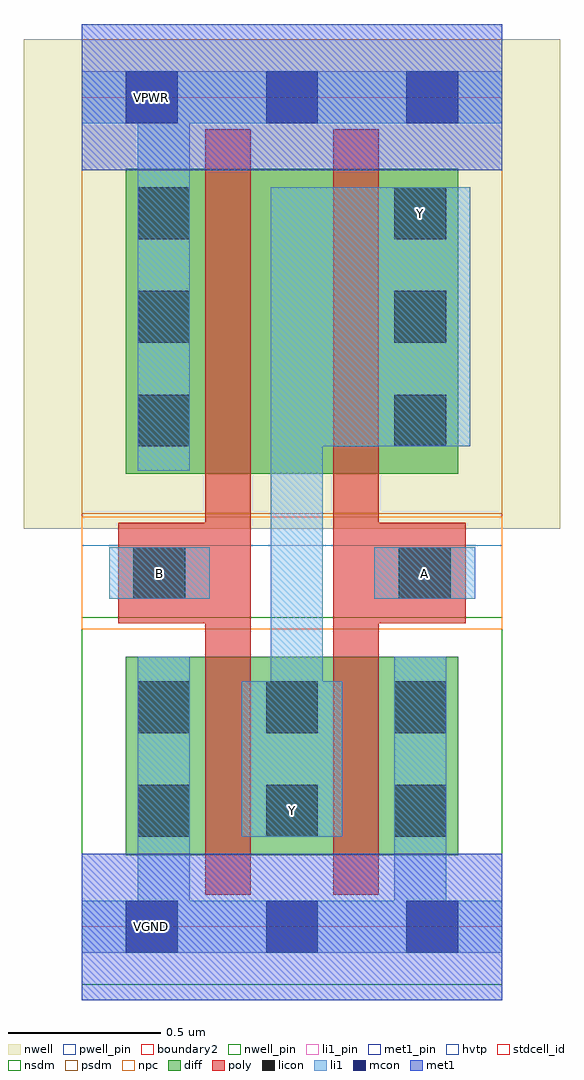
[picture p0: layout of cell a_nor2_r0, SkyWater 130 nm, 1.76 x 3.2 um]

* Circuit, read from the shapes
.subckt a_nor2_r0 A B VGND VNB VPB VPWR Y
XM1 Y B VGND VNB sky130_fd_pr__nfet_01v8 w=0.65 l=0.15
XM2 VGND A Y VNB sky130_fd_pr__nfet_01v8 w=0.65 l=0.15
XM3 n1 B VPWR VPB sky130_fd_pr__pfet_01v8_hvt w=1 l=0.15
XM4 Y A n1 VPB sky130_fd_pr__pfet_01v8_hvt w=1 l=0.15
.ends

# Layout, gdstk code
import gdstk
lib = gdstk.Library(unit=1e-6, precision=1e-09)
def R(c, l, rs):  # rectangles x0, y0, x1, y1
    for r in rs: c.add(gdstk.rectangle(r[:2], r[2:], *l))
def A(c, l, x, y, w, h, nx, ny, dx, dy):  # array of equal rectangles
    R(c, l, [(x+i*dx, y+j*dy, x+i*dx+w, y+j*dy+h) for i in range(nx) for j in range(ny)])
nwell_pin = (64, 16)
nwell = (64, 20)
diff = (65, 20)
poly = (66, 20)
licon = (66, 44)
li1_pin = (67, 16)
li1 = (67, 20)
mcon = (67, 44)
met1_pin = (68, 16)
met1 = (68, 20)
hvtp = (78, 44)
stdcell_id = (81, 4)
nsdm = (93, 44)
psdm = (94, 20)
npc = (95, 20)
pwell_pin = (122, 16)
boundary2 = (236, 0)

a_nor2_r0 = lib.new_cell('a_nor2_r0')
R(a_nor2_r0, nwell_pin, [(0.145,2.635,0.315,2.805)])
R(a_nor2_r0, nwell, [(-0.19,1.305,1.57,2.91)])
R(a_nor2_r0, diff, [(0.145,0.235,0.69,0.885), (0.69,0.235,1.235,0.885), (0.145,1.485,0.69,2.485), (0.69,1.485,1.235,2.485)])
R(a_nor2_r0, poly, [(0.405,0.105,0.555,2.615), (0.825,0.105,0.975,2.615), (0.12,0.995,0.555,1.325), (0.825,0.995,1.26,1.325)])
A(a_nor2_r0, licon, 0.185, 0.295, 0.17, 0.17, 3, 2, 0.42, 0.34)
A(a_nor2_r0, licon, 0.185, 1.575, 0.17, 0.17, 1, 3, 0, 0.34)
A(a_nor2_r0, licon, 1.025, 1.575, 0.17, 0.17, 1, 3, 0, 0.34)
R(a_nor2_r0, licon, [(0.17,1.075,0.34,1.245), (1.04,1.075,1.21,1.245)])
R(a_nor2_r0, li1_pin, [(0.605,0.295,0.775,0.465), (0.17,1.075,0.34,1.245), (1.04,1.075,1.21,1.245), (1.025,2.255,1.195,2.425)])
R(a_nor2_r0, li1, [(0,-0.085,1.38,0.085), (0.185,-0.085,0.355,0.545), (1.025,-0.085,1.195,0.545), (0.185,0.295,0.355,0.885), (0.525,0.295,0.855,0.465), (0.525,0.295,0.855,0.805), (0.62,0.295,0.79,2.425), (1.025,0.295,1.195,0.885), (0.09,1.075,0.42,1.245), (0.96,1.075,1.29,1.245), (0.185,1.495,0.355,2.085), (0.79,1.575,0.945,2.085), (0.79,1.575,0.945,2.085), (0.79,1.575,0.945,2.085), (0.79,1.575,0.945,2.085), (0.945,1.575,1.275,2.085), (0.185,1.835,0.355,2.425), (0.79,1.915,0.945,2.425), (0.79,1.915,0.945,2.425), (0.79,1.915,0.945,2.425), (0.79,1.915,0.945,2.425), (0.945,1.915,1.275,2.425), (0.185,2.085,0.355,2.175), (0.185,2.085,0.355,2.175), (0.185,2.085,0.355,2.175), (0.185,2.085,0.355,2.175), (0.185,2.175,0.355,2.805), (0.62,2.255,1.115,2.425), (0.79,2.255,0.945,2.425), (0.79,2.255,0.945,2.425), (0.79,2.255,0.945,2.425), (0.79,2.255,0.945,2.425), (0.945,2.255,1.275,2.425), (0,2.635,1.38,2.805)])
A(a_nor2_r0, mcon, 0.145, -0.085, 0.17, 0.17, 3, 2, 0.46, 2.72)
R(a_nor2_r0, met1_pin, [(0.145,-0.085,0.315,0.085), (0.145,2.635,0.315,2.805)])
R(a_nor2_r0, met1, [(0,-0.24,1.38,0.24), (0,2.48,1.38,2.96)])
R(a_nor2_r0, hvtp, [(0,1.25,1.38,2.72)])
R(a_nor2_r0, stdcell_id, [(0,0,1.38,2.72)])
R(a_nor2_r0, nsdm, [(0,-0.19,1.38,1.015)])
R(a_nor2_r0, psdm, [(0,1.355,1.38,2.91)])
R(a_nor2_r0, npc, [(0,0.975,1.38,1.345)])
R(a_nor2_r0, pwell_pin, [(0.145,-0.085,0.315,0.085)])
R(a_nor2_r0, boundary2, [(0,0,1.38,2.72)])
a_nor2_r0.add(gdstk.Label('A', (1.125,1.16), layer=67, texttype=5))
a_nor2_r0.add(gdstk.Label('B', (0.255,1.16), layer=67, texttype=5))
a_nor2_r0.add(gdstk.Label('Y', (0.69,0.38), layer=67, texttype=5))
a_nor2_r0.add(gdstk.Label('Y', (1.11,2.34), layer=67, texttype=5))
a_nor2_r0.add(gdstk.Label('VGND', (0.23,0), layer=68, texttype=5))
a_nor2_r0.add(gdstk.Label('VPWR', (0.23,2.72), layer=68, texttype=5))
a_nor2_r0.add(gdstk.Label('VPB', (0.23,2.72), layer=64, texttype=5))
a_nor2_r0.add(gdstk.Label('VNB', (0.23,0), layer=64, texttype=59))

lib.write_gds('a_nor2_r0.gds')
